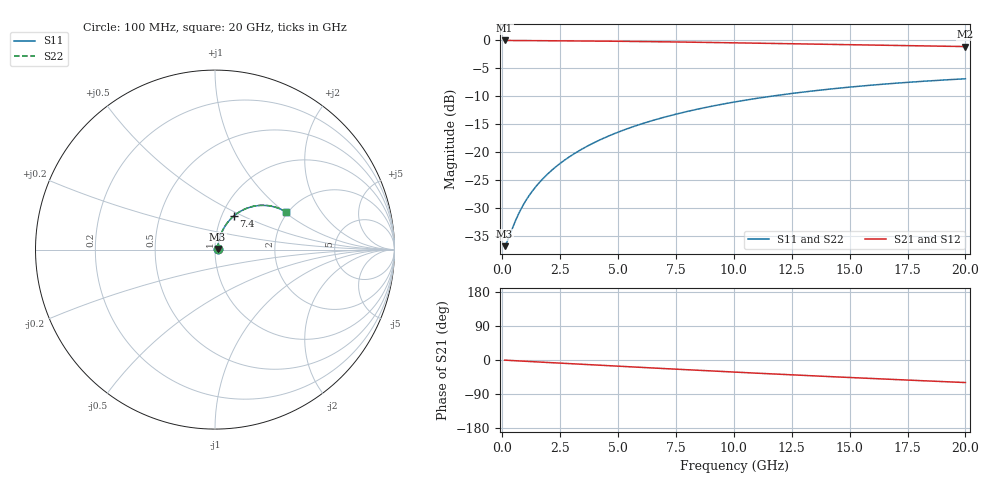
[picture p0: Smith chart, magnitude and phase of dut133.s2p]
! Touchstone file exported from HFSS 2026.1.0
!  File:  C:/ffzhzh/LocalFiles/Ansys_Project_Files/temp_train_BSMRDL_133_1782986250_45328.aedt
!  Generated:  05:58:56 PM Jul  2, 2026
!  Design:  BSMRDL
!  Project:  temp_train_BSMRDL_133_1782986250_45328
! Variables:
!  h_bsmrdl = 2um
!  h_ox = 20um
!  h_rdl = 5um
!  h_sub = 80um
!  h_tmrdl = 5um
!  h_tsv = 80um
!  h_via = 3um
!  l_bsmrdl = 980.38um
!  l_sub = 1380.38um
!  l_tmrdl = 200um
!  m_sub = 200um
!  pitch = 24.48um
!  r_tsv = 6um
!  s_tmrdl = 10um
!  w_bsmrdl = 12.12um
!  w_sub = 500um
!  w_tmrdl = 12um
!  x_tsv_center1 = 206um
!  x_tsv_center2 = 1198.5um
!  x_tsv_center3 = 1410.5um
!  x_tsv_center4 = 2403um
!  x_tsv_center5 = 2615um
!  x_tsv_center6 = 3607.5um
# GHz S MA R 50.000000
! Terminal data exported
! Port[1] = BSM_RDL1_1_T1
! Port[2] = BSM_RDL1_1_T2
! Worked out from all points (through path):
!   200 points, 100 MHz to 20 GHz, reference 50 ohm
!   highest |S21| = -0.12 dB at 100 MHz (marker M1); lowest = -1.2 dB at 20 GHz (marker M2)
!   group delay of S21, straight-line fit = 8.27 ps
!   lowest |S11| = -36.8 dB at 100 MHz (marker M3), VSWR 1.03, Z = 51.4 + j0.348 ohm
!   |S11| at or under -10 dB: start of sweep to 11.71 GHz
!   |S22| runs from -36.8 to -7.0 dB; largest |S21 - S12| = 1.6e-14
!   S11 on the Smith chart (normalised r, x): 100 MHz: 1.03, +0.01; 7.4 GHz: 1.14, +0.45; 20 GHz: 1.97, +1.03
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0.1  0.01451 13.5  0.9859 -0.4  0.9859 -0.4  0.01451 13.5
! Gamma 0 0 0 0
! Port Impedance 50 0 50 0
0.2  0.0158 25.3  0.9858 -0.7  0.9858 -0.7  0.0158 25.3
0.6  0.02526 51.1  0.9847 -2.1  0.9847 -2.1  0.02526 51.1
0.8  0.03082 56.7  0.984 -2.8  0.984 -2.8  0.03082 56.7
1.1  0.0393 61.6  0.983 -3.7  0.983 -3.7  0.0393 61.6
1.4  0.04782 64.5  0.9821 -4.7  0.9821 -4.7  0.04782 64.5
1.8  0.05922 66.8  0.9809 -6.0  0.9809 -6.0  0.05922 66.8
2.3  0.07354 68.2  0.9795 -7.7  0.9795 -7.7  0.07353 68.2
2.9  0.09076 68.7  0.9777 -9.6  0.9777 -9.6  0.09075 68.8
3.5  0.1079 68.5  0.9756 -11.5  0.9756 -11.5  0.1079 68.5
4.2  0.1278 67.7  0.973 -13.8  0.973 -13.8  0.1278 67.7
5  0.1503 66.3  0.9695 -16.3  0.9695 -16.3  0.1503 66.3
5.9  0.1751 64.3  0.9651 -19.2  0.9651 -19.2  0.175 64.4
6.8  0.1992 62.2  0.9602 -22.0  0.9602 -22.0  0.1991 62.3
7.4  0.2148 60.7  0.9566 -23.9  0.9566 -23.9  0.2148 60.8
8.7  0.2476 57.3  0.9484 -27.9  0.9484 -27.9  0.2475 57.4
10.1  0.2808 53.5  0.9388 -32.1  0.9388 -32.1  0.2807 53.7
11.7  0.3159 49.2  0.9272 -36.8  0.9272 -36.8  0.3159 49.3
13.4  0.3499 44.6  0.9146 -41.7  0.9146 -41.7  0.3499 44.8
15  0.3787 40.4  0.9029 -46.2  0.9029 -46.2  0.3786 40.6
16.7  0.4059 35.9  0.8908 -50.8  0.8908 -50.8  0.4058 36.1
20  0.4492 27.6  0.8697 -59.5  0.8697 -59.5  0.4491 27.8
